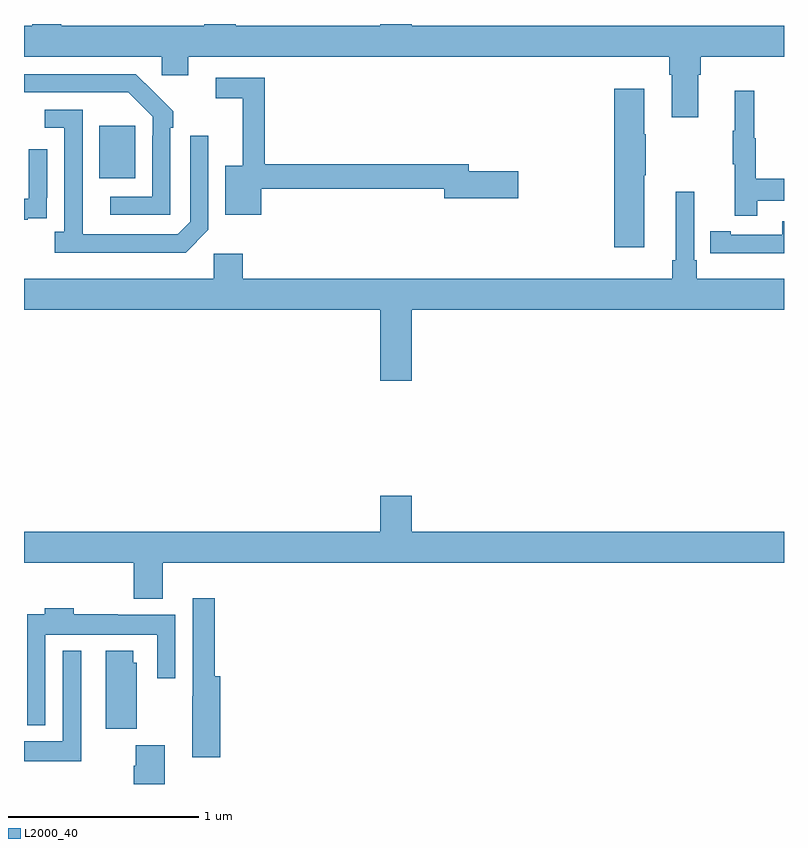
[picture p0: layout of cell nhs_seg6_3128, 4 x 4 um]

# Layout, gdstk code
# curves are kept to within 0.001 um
import gdstk
lib = gdstk.Library(unit=1e-6, precision=1e-09)
def R(c, l, rs):  # rectangles x0, y0, x1, y1
    for r in rs: c.add(gdstk.rectangle(r[:2], r[2:], *l))
def P(c, l, *ps):  # polygons
    for p in ps: c.add(gdstk.Polygon(p, *l))
L2000_40 = (2000, 40)

nhs_seg6_3128 = lib.new_cell('nhs_seg6_3128')
R(nhs_seg6_3128, L2000_40, [(295.397,954.689,295.585,954.964)])
P(nhs_seg6_3128, L2000_40, [(298.549,955.232),(298.562,955.232),(298.562,955.328),(299,955.328),(299,955.492),(297.04,955.492),(297.04,955.5),(296.876,955.5),(296.876,955.492),(296.114,955.492),(296.114,955.5),(295.949,955.5),(295.949,955.492),(295.196,955.492),(295.196,955.5),(295.043,955.5),(295.043,955.492),(295,955.492),(295,955.328),(295.725,955.328),(295.725,955.23),(295.864,955.23),(295.864,955.328),(298.397,955.328),(298.397,955.232),(298.409,955.232),(298.409,955.008),(298.549,955.008)],
  [(295.77,954.953),(295.785,954.953),(295.785,955.041),(295.588,955.236),(295,955.236),(295,955.14),(295.549,955.14),(295.677,955.011),(295.677,954.911),(295.674,954.911),(295.674,954.591),(295.455,954.591),(295.455,954.495),(295.77,954.495)],
  [(296.248,954.633),(297.212,954.633),(297.212,954.583),(297.601,954.583),(297.601,954.725),(297.34,954.725),(297.34,954.761),(296.267,954.761),(296.267,955.218),(296.01,955.218),(296.01,955.11),(296.15,955.11),(296.15,954.754),(296.06,954.754),(296.06,954.497),(296.248,954.497)],
  [(298.264,954.703),(298.272,954.703),(298.272,954.92),(298.264,954.92),(298.264,955.159),(298.106,955.159),(298.106,954.324),(298.264,954.324)],
  [(298.859,954.57),(299,954.57),(299,954.686),(298.852,954.686),(298.852,954.9),(298.844,954.9),(298.844,955.15),(298.742,955.15),(298.742,954.937),(298.731,954.937),(298.731,954.763),(298.742,954.763),(298.742,954.492),(298.859,954.492)],
  [(295.971,954.417),(295.971,954.913),(295.875,954.913),(295.875,954.459),(295.809,954.393),(295.309,954.393),(295.308,955.05),(295.11,955.05),(295.11,954.954),(295.212,954.954),(295.212,954.406),(295.161,954.406),(295.161,954.296),(295.85,954.296)],
  [(295.019,954.477),(295.121,954.477),(295.121,954.586),(295.122,954.586),(295.122,954.841),(295.026,954.841),(295.026,954.579),(295,954.579),(295,954.471),(295.019,954.471)],
  [(297.04,953.996),(299,953.996),(299,954.16),(298.541,954.16),(298.541,954.256),(298.527,954.256),(298.527,954.616),(298.43,954.616),(298.43,954.256),(298.411,954.256),(298.411,954.16),(296.15,954.16),(296.15,954.292),(295.998,954.292),(295.998,954.16),(295,954.16),(295,953.996),(296.876,953.996),(296.876,953.622),(297.04,953.622)],
  [(299,954.462),(298.992,954.462),(298.992,954.39),(298.72,954.39),(298.72,954.41),(298.612,954.41),(298.612,954.294),(298.72,954.294),(298.72,954.293),(299,954.293)],
  [(295.729,952.664),(299,952.664),(299,952.828),(297.04,952.828),(297.04,953.017),(296.876,953.017),(296.876,952.828),(295,952.828),(295,952.664),(295.577,952.664),(295.577,952.475),(295.729,952.475)],
  [(296.033,952.066),(296.003,952.066),(296.003,952.477),(295.887,952.477),(295.887,951.962),(295.886,951.962),(295.886,951.642),(296.033,951.642)],
  [(295.113,952.286),(295.701,952.286),(295.701,952.056),(295.797,952.056),(295.797,952.39),(295.493,952.39),(295.493,952.393),(295.262,952.393),(295.262,952.426),(295.109,952.426),(295.109,952.393),(295.017,952.393),(295.017,951.809),(295.113,951.809)],
  [(295.594,952.137),(295.576,952.137),(295.576,952.201),(295.43,952.201),(295.43,951.79),(295.594,951.79)],
  [(295.3,952.201),(295.203,952.201),(295.203,951.724),(295,951.724),(295,951.62),(295.3,951.62)],
  [(295.742,951.705),(295.589,951.705),(295.589,951.596),(295.577,951.596),(295.577,951.5),(295.742,951.5)])

lib.write_gds('nhs_seg6_3128.gds')
